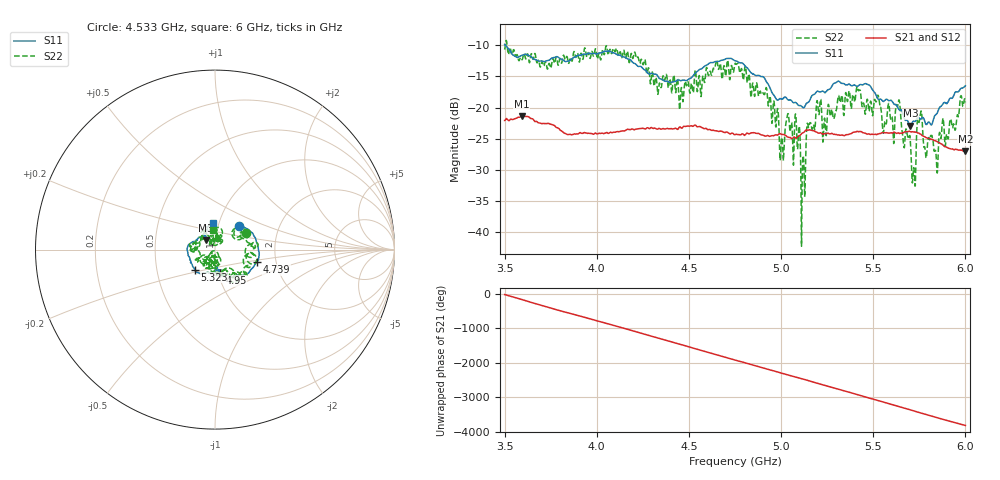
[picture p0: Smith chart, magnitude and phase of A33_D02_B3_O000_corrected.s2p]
! Created with skrf 1.9.0 (http://scikit-rf.org).
# Hz S RI R 50.0
!freq ReS11 ImS11 ReS21 ImS21 ReS12 ImS12 ReS22 ImS22
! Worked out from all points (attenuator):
!   1601 points, 3.5 GHz to 6 GHz, reference 50 ohm
!   highest |S21| = -21.39 dB at 3.594 GHz (marker M1); lowest = -27.0 dB at 6 GHz (marker M2)
!   lowest |S11| = -22.9 dB at 5.702 GHz (marker M3), VSWR 1.15, Z = 45.1 + j4.7 ohm
!   |S11| at or under -10 dB: 3.505 GHz to end of sweep
!   |S22| runs from -42.3 to -9.2 dB; largest |S21 - S12| = 0.00097
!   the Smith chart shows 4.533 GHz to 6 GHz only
!   S11 on the Smith chart (normalised r, x): 4.533 GHz: 1.25, +0.35; 4.739 GHz: 1.59, -0.23; 4.95 GHz: 1.02, -0.27; 5.323 GHz: 0.78, -0.18; 6 GHz: 0.94, +0.29
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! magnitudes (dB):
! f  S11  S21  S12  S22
! 3.5 GHz  -9.9  -22.1  -22.1  -10.7
! 3.594 GHz  -11.6  -21.4  -21.4  -12.3
! 3.917 GHz  -11.6  -24.1  -24.1  -11.3
! 4.213 GHz  -13.1  -23.5  -23.5  -11.8
! 4.334 GHz  -15.1  -23.4  -23.3  -17.4
! 4.533 GHz  -14.5  -22.8  -22.8  -14.2
! 4.739 GHz  -12.3  -24.1  -24.2  -14.2
! 4.75 GHz  -12.5  -24.4  -24.3  -13.0
! 4.95 GHz  -17.6  -24.5  -24.5  -22.5
! 5.005 GHz  -18.6  -24.3  -24.3  -24.8
! 5.033 GHz  -18.6  -24.7  -24.6  -21.5
! 5.088 GHz  -19.4  -24.8  -24.8  -26.2
! 5.119 GHz  -20.0  -24.1  -24.0  -27.7
! 5.167 GHz  -18.1  -23.7  -23.6  -23.5
! 5.323 GHz  -16.0  -24.4  -24.4  -19.0
! 5.584 GHz  -18.9  -24.1  -24.1  -19.3
! 5.636 GHz  -20.1  -24.1  -24.0  -19.2
! 5.702 GHz  -22.9  -23.9  -23.9  -25.5
! 5.72 GHz  -22.2  -23.9  -23.9  -29.7
! 5.753 GHz  -21.8  -24.2  -24.2  -21.8
! 5.841 GHz  -21.1  -25.4  -25.3  -27.5
! 6 GHz  -16.5  -27.0  -27.0  -19.2
